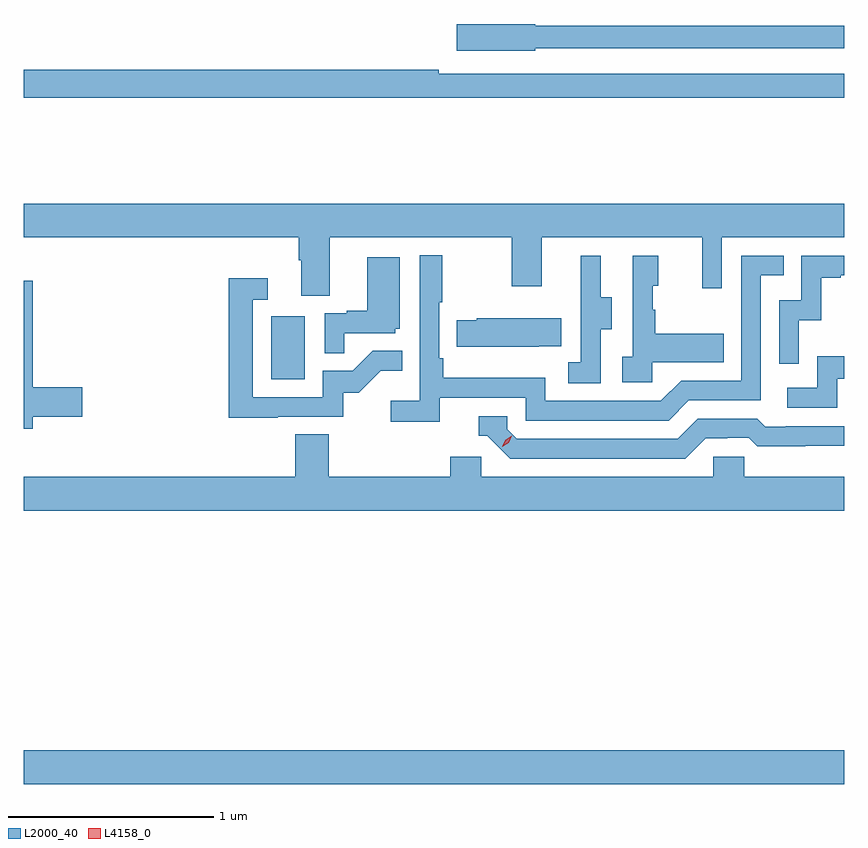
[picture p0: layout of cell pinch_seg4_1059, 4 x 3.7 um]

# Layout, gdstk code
import gdstk
lib = gdstk.Library(unit=1e-6, precision=1e-09)
def R(c, l, rs):  # rectangles x0, y0, x1, y1
    for r in rs: c.add(gdstk.rectangle(r[:2], r[2:], *l))
def P(c, l, *ps):  # polygons
    for p in ps: c.add(gdstk.Polygon(p, *l))
L2000_40 = (2000, 40)
L4158_0 = (4158, 0)

pinch_seg4_1059 = lib.new_cell('pinch_seg4_1059')
R(pinch_seg4_1059, L2000_40, [(874.07,755.528,878.07,755.692), (875.276,757.5,875.44,757.807)])
P(pinch_seg4_1059, L2000_40, [(876.564,759.114),(878.07,759.114),(878.07,759.223),(876.564,759.223),(876.564,759.231),(876.18,759.231),(876.18,759.101),(876.564,759.101)],
  [(878.07,758.988),(876.092,758.988),(876.092,759.008),(874.07,759.008),(874.07,758.872),(878.07,758.872)],
  [(875.563,758.192),(876.448,758.192),(876.448,757.953),(876.595,757.953),(876.595,758.192),(877.376,758.192),(877.376,757.944),(877.473,757.944),(877.473,758.192),(878.07,758.192),(878.07,758.356),(874.07,758.356),(874.07,758.192),(875.411,758.192),(875.411,758.08),(875.423,758.08),(875.423,757.906),(875.563,757.906)],
  [(876.098,757.41),(876.516,757.41),(876.516,757.299),(877.213,757.299),(877.312,757.398),(877.662,757.398),(877.662,758.007),(877.775,758.007),(877.775,758.103),(877.566,758.103),(877.566,757.494),(877.275,757.494),(877.176,757.395),(876.612,757.395),(876.612,757.507),(876.116,757.507),(876.116,757.603),(876.096,757.603),(876.096,757.876),(876.109,757.876),(876.109,758.104),(876,758.104),(876,757.396),(875.859,757.396),(875.859,757.294),(876.098,757.294)],
  [(877.848,757.787),(877.958,757.787),(877.958,757.995),(878.053,757.995),(878.053,758.007),(878.07,758.007),(878.07,758.103),(877.86,758.103),(877.86,757.884),(877.752,757.884),(877.752,757.575),(877.848,757.575)],
  [(877.134,757.583),(877.481,757.583),(877.481,757.723),(877.147,757.723),(877.147,757.838),(877.137,757.838),(877.137,757.956),(877.162,757.956),(877.162,758.101),(877.038,758.101),(877.038,757.61),(876.987,757.61),(876.987,757.485),(877.134,757.485)],
  [(876.882,757.744),(876.937,757.744),(876.937,757.899),(876.883,757.899),(876.883,758.101),(876.785,758.101),(876.785,757.887),(876.786,757.887),(876.786,757.583),(876.723,757.583),(876.723,757.48),(876.882,757.48)],
  [(875.633,757.725),(875.88,757.725),(875.88,757.746),(875.902,757.746),(875.902,758.095),(875.744,758.095),(875.744,757.834),(875.645,757.834),(875.645,757.821),(875.538,757.821),(875.538,757.627),(875.633,757.627)],
  [(875.309,757.317),(875.628,757.317),(875.628,757.434),(875.704,757.434),(875.811,757.541),(875.915,757.541),(875.915,757.64),(875.771,757.64),(875.673,757.542),(875.529,757.542),(875.529,757.413),(875.187,757.413),(875.187,757.887),(875.26,757.887),(875.26,757.993),(875.071,757.993),(875.071,757.312),(875.309,757.312)],
  [(874.114,757.318),(874.357,757.318),(874.357,757.46),(874.114,757.46),(874.114,757.981),(874.07,757.981),(874.07,757.26),(874.114,757.26)],
  [(876.581,757.661),(876.689,757.661),(876.689,757.798),(876.279,757.798),(876.279,757.788),(876.181,757.788),(876.181,757.658),(876.581,757.658)],
  [(878.034,757.503),(878.07,757.503),(878.07,757.612),(877.938,757.612),(877.938,757.458),(877.791,757.458),(877.791,757.362),(878.034,757.362)],
  [(877.393,757.212),(877.5,757.212),(877.5,757.215),(877.603,757.215),(877.645,757.173),(877.878,757.173),(877.878,757.175),(878.07,757.175),(878.07,757.272),(877.783,757.272),(877.783,757.269),(877.684,757.269),(877.645,757.308),(877.356,757.308),(877.257,757.209),(876.474,757.209),(876.426,757.257),(876.426,757.32),(876.287,757.32),(876.287,757.224),(876.33,757.224),(876.441,757.113),(877.294,757.113)],
  [(878.07,757.024),(877.581,757.024),(877.581,757.122),(877.431,757.122),(877.431,757.024),(876.3,757.024),(876.3,757.122),(876.149,757.122),(876.149,757.024),(875.558,757.024),(875.558,757.232),(875.393,757.232),(875.393,757.024),(874.07,757.024),(874.07,756.86),(878.07,756.86)])
P(pinch_seg4_1059, L4158_0, [(876.403,757.171),(876.403,757.171),(876.418,757.204),(876.449,757.224),(876.449,757.224),(876.449,757.224),(876.434,757.191),(876.403,757.171)])

lib.write_gds('pinch_seg4_1059.gds')
